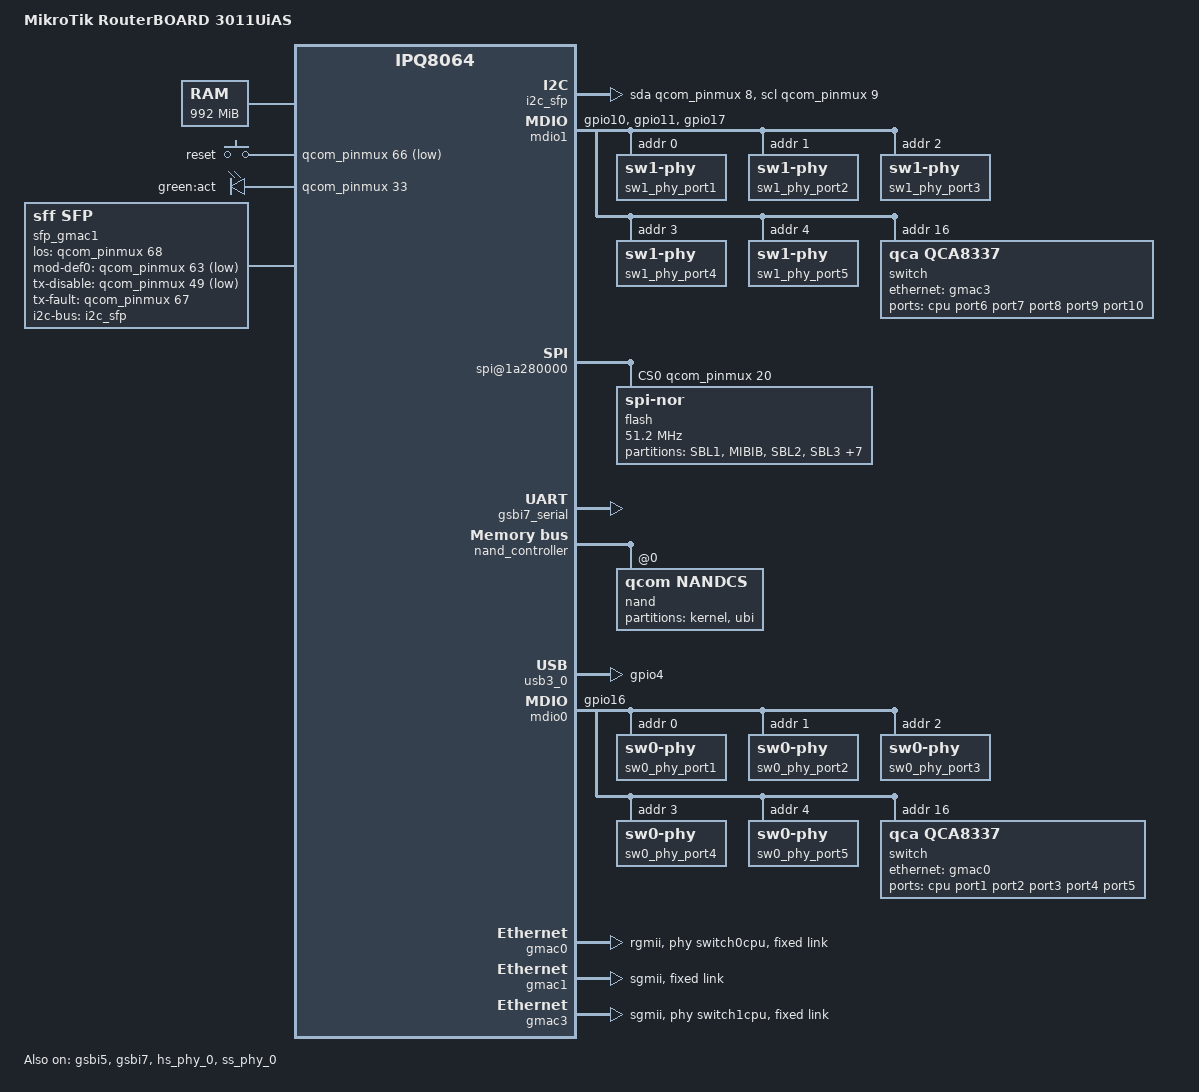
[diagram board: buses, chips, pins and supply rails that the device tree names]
// SPDX-License-Identifier: GPL-2.0
#include "qcom-ipq8064-v2.0.dtsi"

#include <dt-bindings/input/input.h>

/ {
	model = "MikroTik RouterBOARD 3011UiAS";
	compatible = "mikrotik,routerboard-3011uias", "qcom,ipq8064";

	memory@0 {
		reg = <0x42000000 0x3e000000>;
		device_type = "memory";
	};

	reserved-memory {
		rsvd@7f000000 { /* 16 Mb for ramoops */
			reg = <0x7f000000 0x1000000>;
			reusable;
		};
	};

	aliases {
		led-boot = &act;
		led-failsafe = &act;
		led-running = &act;
		led-upgrade = &act;
		mdio-gpio0 = &mdio0;
		mdio-gpio1 = &mdio1;
		serial0 = &gsbi7_serial;
	};

	chosen {
		bootargs = "rootfstype=squashfs noinitrd";
	};

	i2c_sfp: i2c {
		compatible = "i2c-gpio";
		sda-gpios = <&qcom_pinmux 8 (GPIO_ACTIVE_HIGH|GPIO_OPEN_DRAIN)>;
		scl-gpios = <&qcom_pinmux 9 (GPIO_ACTIVE_HIGH|GPIO_OPEN_DRAIN)>;
		i2c-gpio,delay-us = <5>;
		i2c-gpio,timeout-ms = <1>;
	};

	keys {
		compatible = "gpio-keys";

		reset {
			gpios = <&qcom_pinmux 66 GPIO_ACTIVE_LOW>;
			label = "reset";
			linux,code = <KEY_RESTART>;
			pinctrl-0 = <&reset_button_pins>;
			pinctrl-names = "default";
		};
	};

	leds {
		compatible = "gpio-leds";
		pinctrl-0 = <&led_pins>;
		pinctrl-names = "default";

		led_act: act {
			label = "green:act";
			gpios = <&qcom_pinmux 33 GPIO_ACTIVE_HIGH>;
		};
	};

	sfp_gmac1: sfp {
		compatible = "sff,sfp";
		i2c-bus = <&i2c_sfp>;
		los-gpios = <&qcom_pinmux 68 GPIO_ACTIVE_HIGH>;
		maximum-power-milliwatt = <2000>;
		mod-def0-gpios = <&qcom_pinmux 63 GPIO_ACTIVE_LOW>;
		pinctrl-0 = <&sfp_pins>;
		pinctrl-names = "default";
		tx-disable-gpios = <&qcom_pinmux 49 GPIO_ACTIVE_LOW>;
		tx-fault-gpios = <&qcom_pinmux 67 GPIO_ACTIVE_HIGH>;
	};
};

&adm_dma {
	status = "okay";
};

&soc {
	mdio1: mdio@37200000 {
		#address-cells = <1>;
		#size-cells = <0>;

		compatible = "qcom,ipq8064-mdio", "syscon";
		reg = <0x37200000 0x200000>;
		resets = <&gcc GMAC_CORE2_RESET>;
		reset-names = "stmmaceth";
		clocks = <&gcc GMAC_CORE2_CLK>;
		clock-names = "stmmaceth";

		status = "disabled";
	};
};

&qcom_pinmux {
	pinctrl-0 = <&port10_poe_pin>;
	pinctrl-names = "default";

	led_pins: led-pins {
		mux {
			pins = "gpio33";
			function = "gpio";
			drive-strength = <2>;
			bias-pull-down;
		};
	};

	mdio1_pins: mdio1-pins {
		mux {
			pins = "gpio10", "gpio11";
			function = "mdio";
			drive-strength = <8>;
			bias-disable;
		};
	};

	reset_button_pins: reset-button-pins {
		mux {
			pins = "gpio66";
			function = "gpio";
			drive-strength = <2>;
			bias-pull-up;
		};
	};

	sfp_pins: sfp-pins {
		mux {
			pins = "gpio49", "gpio50", "gpio63", "gpio67", "gpio68";
			function = "gpio";
			drive-strength = <16>;
			bias-disable;
		};
	};

	sw0_and_phy_reset_pin: switch0-reset-pin {
		mux {
			pins = "gpio16";
			function = "gpio";
			drive-strength = <16>;
			bias-pull-down;
			output-high;
		};
	};

	sw1_and_phy_reset_pin: switch1-reset-pin {
		mux {
			pins = "gpio17";
			function = "gpio";
			drive-strength = <16>;
			bias-pull-down;
			output-high;
		};
	};

	usb0_pwr_en_pins: usb0-pwr-en-pins {
		mux {
			pins = "gpio4";
			function = "gpio";
			drive-strength = <16>;
			bias-pull-down;
			output-high;
		};
	};

	port10_poe_pin: port10-poe-pin {
		mux {
			pins = "gpio26";
			function = "gpio";
			drive-strength = <16>;
			bias-pull-down;
			output-high;
		};
	};
};

&gsbi5 {
	qcom,mode = <GSBI_PROT_SPI>;
	status = "okay";

	spi@1a280000 {
		status = "okay";

		pinctrl-0 = <&spi_pins>;
		pinctrl-names = "default";

		cs-gpios = <&qcom_pinmux 20 GPIO_ACTIVE_HIGH>;

		flash@0 {
			compatible = "jedec,spi-nor";
			#address-cells = <1>;
			#size-cells = <1>;
			spi-max-frequency = <51200000>;
			reg = <0>;

			partitions {
				compatible = "fixed-partitions";
				#address-cells = <1>;
				#size-cells = <1>;

				partition@0 {
					label = "SBL1";
					reg = <0x0 0x20000>;
					read-only;
				};

				partition@20000 {
					label = "MIBIB";
					reg = <0x00020 0x20000>;
					read-only;
				};

				partition@40000 {
					label = "SBL2";
					reg = <0x00040 0x40000>;
					read-only;
				};

				partition@80000 {
					label = "SBL3";
					reg = <0x00080 0x80000>;
					read-only;
				};

				partition@100000 {
					label = "DDRCONFIG";
					reg = <0x00100 0x10000>;
					read-only;
				};

				partition@110000 {
					label = "SSD";
					reg = <0x00110 0x10000>;
					read-only;
				};

				partition@120000 {
					label = "TZ";
					reg = <0x00120 0x80000>;
					read-only;
				};

				partition@1a0000 {
					label = "RPM";
					reg = <0x001a0 0x20000>;
					read-only;
				};

				partition@1c0000 {
					label = "APPSBL";
					reg = <0x001c0 0x40000>;
					read-only;
				};

				hard_config: partition@1cf000 {
					label = "hard_config";
					reg = <0x001cf 0x01000>;
					read-only;
				};

				partition@1e0000 {
					label = "soft_config";
					reg = <0x001e0 0x01000>;
				};
			};
		};
	};
};

&gsbi4 {
	status = "disabled";
};

&gsbi7 {
	qcom,mode = <GSBI_PROT_I2C_UART>;
	status = "okay";
};

&gsbi7_serial {
	status = "okay";
};

&nand_controller {
	status = "okay";

	pinctrl-0 = <&nand_pins>;
	pinctrl-names = "default";

	nand@0 {
		reg = <0>;
		compatible = "qcom,nandcs";

		nand-ecc-strength = <4>;
		nand-bus-width = <8>;
		nand-ecc-step-size = <512>;

		partitions {
			compatible = "fixed-partitions";
			#address-cells = <1>;
			#size-cells = <1>;

			partition@0 {
				label = "kernel";
				reg = <0x0 0x1000000>;
			};

			partition@1000000 {
				label = "ubi";
				reg = <0x1000000 0x7000000>;
			};
		};
	};
};

&hs_phy_0 { /* USB3 port 0 HS phy */
	clocks = <&gcc USB30_1_UTMI_CLK>;
	status = "okay";
};

&ss_phy_0 { /* USB3 port 0 SS phy */
	clocks = <&gcc USB30_1_MASTER_CLK>;
	status = "okay";
};

&usb3_0 {
	clocks = <&gcc USB30_1_MASTER_CLK>;
	pinctrl-0 = <&usb0_pwr_en_pins>;
	pinctrl-names = "default";
	no-clk_bulk_get;
	no-dwc3_qcom_setup_irq;
	status = "okay";
};

&mdio0 {
	status = "okay";

	pinctrl-0 = <&mdio0_pins &sw0_and_phy_reset_pin>;
	pinctrl-names = "default";

	sw0_phy_port1: sw0-phy@0 {
		reg = <0>;
	};
	sw0_phy_port2: sw0-phy@1 {
		reg = <1>;
	};
	sw0_phy_port3: sw0-phy@2 {
		reg = <2>;
	};
	sw0_phy_port4: sw0-phy@3 {
		reg = <3>;
	};
	sw0_phy_port5: sw0-phy@4 {
		reg = <4>;
	};

	switch@10 {
		compatible = "qca,qca8337";
		#address-cells = <1>;
		#size-cells = <0>;

		reg = <0x10>;
		/* The switch chip and its phys reset is done by aux-loader
			 so DSA driver does not need to do reset again.
			 reset-gpios = <&qcom_pinmux 16 GPIO_ACTIVE_LOW>; */
		dsa,member = <0 0>;
		qca,strict-cpu-mode;
		qca,swregs-initvals = <
			0x00004 0x07680000  /* PAD0_MODE */
			0x00008 0x01000000  /* PAD5_MODE */
			0x0000c 0x00000000  /* PAD6_MODE. Must be 0x00000080 if used Port6(without DSA)! */
			/* 0x00010 0x002613A0  POWER_ON_STRIP - Disable SERNES_AEN. Must be set if used Port6! */
			0x000e0 0xc741e7de  /* SGMII_CTRL */
			0x000e4 0x0002a545  /* MAC_POWER_SEL */
			0x00078 0x00001fdc  /* MAX_FRAME_SIZE */
			0x0007c 0x4e        /* PORT0_STATUS */
			0x00094 0x4e        /* PORT6_STATUS */
		>;

		ports {
			#address-cells = <1>;
			#size-cells = <0>;

			switch0cpu: port@0 {
				reg = <0>;
				label = "cpu";
				ethernet = <&gmac0>;
				phy-mode = "rgmii-id";

				fixed-link {
					speed = <1000>;
					full-duplex;
				};
			};

			port@1 {
				reg = <1>;
				label = "port1";
				phy-handle = <&sw0_phy_port1>;
				nvmem-cells = <&hard_config 0x10>;
				nvmem-cells-increment = <4>;
			};

			port@2 {
				reg = <2>;
				label = "port2";
				phy-handle = <&sw0_phy_port2>;
				nvmem-cells = <&hard_config 0x10>;
				nvmem-cells-increment = <5>;
			};

			port@3 {
				reg = <3>;
				label = "port3";
				phy-handle = <&sw0_phy_port3>;
				nvmem-cells = <&hard_config 0x10>;
				nvmem-cells-increment = <6>;
			};

			port@4 {
				reg = <4>;
				label = "port4";
				phy-handle = <&sw0_phy_port4>;
				nvmem-cells = <&hard_config 0x10>;
				nvmem-cells-increment = <7>;
			};

			port@5 {
				reg = <5>;
				label = "port5";
				phy-handle = <&sw0_phy_port5>;
				nvmem-cells = <&hard_config 0x10>;
				nvmem-cells-increment = <8>;
			};
		};
	};
};

&mdio1 {
	status = "okay";

	pinctrl-0 = <&mdio1_pins &sw1_and_phy_reset_pin>;
	pinctrl-names = "default";

	sw1_phy_port1: sw1-phy@0 {
		reg = <0>;
	};
	sw1_phy_port2: sw1-phy@1 {
		reg = <1>;
	};
	sw1_phy_port3: sw1-phy@2 {
		reg = <2>;
	};
	sw1_phy_port4: sw1-phy@3 {
		reg = <3>;
	};
	sw1_phy_port5: sw1-phy@4 {
		reg = <4>;
	};

	switch@14 {
		compatible = "qca,qca8337";
		#address-cells = <1>;
		#size-cells = <0>;

		reg = <0x10>;
		/* The switch chip and its phys reset is done by aux-loader
			 so DSA driver does not need to do reset again.
			 reset-gpios = <&qcom_pinmux 17 GPIO_ACTIVE_LOW>; */
		dsa,member = <1 0>;
		qca,strict-cpu-mode;
		qca,swregs-initvals = <
			0x00004 0x00080080  /* PAD0_MODE */
			0x00008 0000000000  /* PAD5_MODE */
			0x0000c 0x00000000  /* PAD6_MODE */
			0x00010 0x002613A0  /* POWER_ON_STRIP. Disable SERNES_AEN */
			0x000e0 0xc741e7de  /* SGMII_CTRL */
			0x000e4 0x0006a545  /* MAC_POWER_SEL */
			0x00078 0x00001fdc  /* MAX_FRAME_SIZE */
			0x0007c 0x4e        /* PORT0_STATUS */
			0x00094 0x4e        /* PORT6_STATUS */
		>;

		ports {
			#address-cells = <1>;
			#size-cells = <0>;

			switch1cpu: port@0 {
				reg = <0>;
				label = "cpu";
				ethernet = <&gmac3>;
				phy-mode = "sgmii";

				fixed-link {
					speed = <1000>;
					full-duplex;
				};
			};

			port@1 {
				reg = <1>;
				label = "port6";
				phy-handle = <&sw1_phy_port1>;
				nvmem-cells = <&hard_config 0x10>;
				nvmem-cells-increment = <9>;
			};

			port@2 {
				reg = <2>;
				label = "port7";
				phy-handle = <&sw1_phy_port2>;
				nvmem-cells = <&hard_config 0x10>;
				nvmem-cells-increment = <10>;
			};

			port@3 {
				reg = <3>;
				label = "port8";
				phy-handle = <&sw1_phy_port3>;
				nvmem-cells = <&hard_config 0x10>;
				nvmem-cells-increment = <11>;
			};

			port@4 {
				reg = <4>;
				label = "port9";
				phy-handle = <&sw1_phy_port4>;
				nvmem-cells = <&hard_config 0x10>;
				nvmem-cells-increment = <12>;
			};

			port@5 {
				reg = <5>;
				label = "port10";
				phy-handle = <&sw1_phy_port5>;
				nvmem-cells = <&hard_config 0x10>;
				nvmem-cells-increment = <13>;
			};
		};
	};
};

&gmac0 { /* switch0 port 0 */
	nvmem-cells = <&hard_config 0x10>;
	nvmem-cells-increment = <0>;
	phy-mode = "rgmii";
	phy-handle = <&switch0cpu>;
	pinctrl-0 = <&rgmii2_pins>;
	pinctrl-names = "default";
	qcom,id = <0>;
	max-frame-size = <3800>;
	tx-fifo-depth = <4096>;
	rx-fifo-depth = <4096>;
	status = "okay";

	fixed-link {
		speed = <1000>;
		full-duplex;
	};
};

&gmac1 { /* SFP */
	nvmem-cells = <&hard_config 0x10>;
	nvmem-cells-increment = <1>;
	phy-mode = "sgmii";
	qcom,id = <1>;
	//sfp = <&sfp_gmac1>;
	max-frame-size = <3800>;
	tx-fifo-depth = <4096>;
	rx-fifo-depth = <4096>;
	status = "okay";

	fixed-link {
		speed = <1000>;
		full-duplex;
	};
};

&gmac2 { /* switch0 port 6 */
	nvmem-cells = <&hard_config 0x10>;
	nvmem-cells-increment = <2>;
	phy-mode = "sgmii";
	qcom,id = <2>;
	status = "disabled";

	fixed-link {
		speed = <1000>;
		full-duplex;
	};
};

&gmac3 { /* switch1 port 0 */
	nvmem-cells = <&hard_config 0x10>;
	nvmem-cells-increment = <3>;
	phy-mode = "sgmii";
	phy-handle = <&switch1cpu>;
	qcom,id = <3>;
	max-frame-size = <3800>;
	tx-fifo-depth = <4096>;
	rx-fifo-depth = <4096>;
	status = "okay";

	fixed-link {
		speed = <1000>;
		full-duplex;
	};
};
